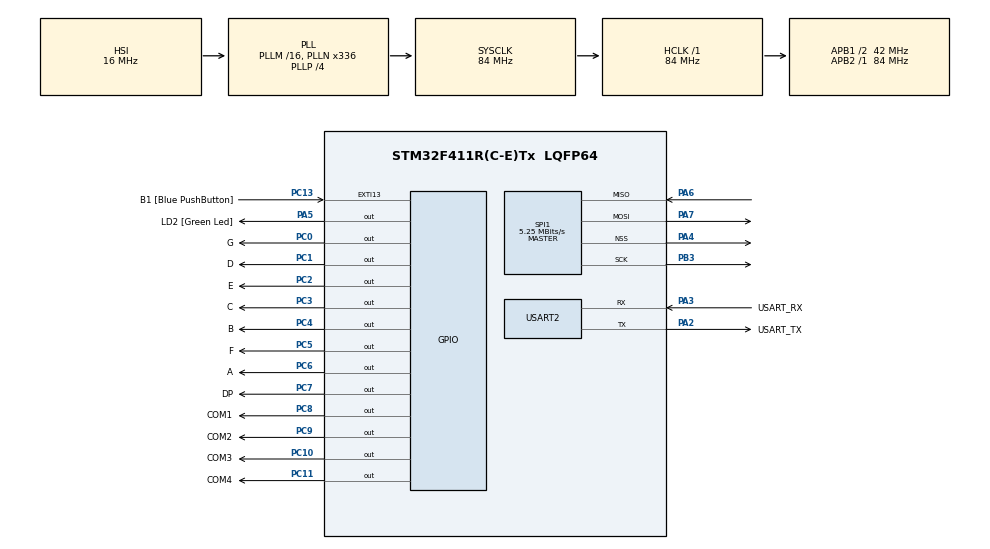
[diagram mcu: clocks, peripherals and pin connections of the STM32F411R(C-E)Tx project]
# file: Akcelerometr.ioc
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Mcu.Family=STM32F4
Mcu.Name=STM32F411R(C-E)Tx
Mcu.Package=LQFP64
NVIC.PriorityGroup=NVIC_PRIORITYGROUP_0
PA13.GPIO_Label=TMS
PA13.Mode=Serial_Wire
PA13.Signal=SYS_JTMS-SWDIO
PA14.GPIO_Label=TCK
PA14.Mode=Serial_Wire
PA14.Signal=SYS_JTCK-SWCLK
PA2.GPIO_Label=USART_TX
PA2.Mode=Asynchronous
PA2.Signal=USART2_TX
PA3.GPIO_Label=USART_RX
PA3.Mode=Asynchronous
PA3.Signal=USART2_RX
PA4.Mode=NSS_Signal_Hard_Output
PA4.Signal=SPI1_NSS
PA5.GPIO_Label=LD2 [Green Led]
PA5.Signal=GPIO_Output
PA6.Mode=Full_Duplex_Master
PA6.Signal=SPI1_MISO
PA7.Mode=Full_Duplex_Master
PA7.Signal=SPI1_MOSI
PB3.Mode=Full_Duplex_Master
PB3.Signal=SPI1_SCK
PC0.GPIO_Label=G
PC0.Signal=GPIO_Output
PC1.GPIO_Label=D
PC1.Signal=GPIO_Output
PC10.GPIO_Label=COM3
PC10.PinState=GPIO_PIN_SET
PC10.Signal=GPIO_Output
PC11.GPIO_Label=COM4
PC11.PinState=GPIO_PIN_SET
PC11.Signal=GPIO_Output
PC13-ANTI_TAMP.GPIO_Label=B1 [Blue PushButton]
PC13-ANTI_TAMP.GPIO_ModeDefaultEXTI=GPIO_MODE_IT_FALLING
PC13-ANTI_TAMP.Signal=GPXTI13
PC14-OSC32_IN.Mode=LSE-External-Oscillator
PC14-OSC32_IN.Signal=RCC_OSC32_IN
PC15-OSC32_OUT.Mode=LSE-External-Oscillator
PC15-OSC32_OUT.Signal=RCC_OSC32_OUT
PC2.GPIO_Label=E
PC2.Signal=GPIO_Output
PC3.GPIO_Label=C
PC3.Signal=GPIO_Output
PC4.GPIO_Label=B
PC4.Signal=GPIO_Output
PC5.GPIO_Label=F
PC5.Signal=GPIO_Output
PC6.GPIO_Label=A
PC6.Signal=GPIO_Output
PC7.GPIO_Label=DP
PC7.Signal=GPIO_Output
PC8.GPIO_Label=COM1
PC8.PinState=GPIO_PIN_SET
PC8.Signal=GPIO_Output
PC9.GPIO_Label=COM2
PC9.PinState=GPIO_PIN_SET
PC9.Signal=GPIO_Output
PH0\ -\ OSC_IN.Mode=HSE-External-Clock-Source
PH0\ -\ OSC_IN.Signal=RCC_OSC_IN
PH1\ -\ OSC_OUT.Mode=HSE-External-Clock-Source
PH1\ -\ OSC_OUT.Signal=RCC_OSC_OUT
ProjectManager.HeapSize=0x200
ProjectManager.StackSize=0x400
ProjectManager.TargetToolchain=STM32CubeIDE
RCC.48MHZClocksFreq_Value=84000000
RCC.AHBFreq_Value=84000000
RCC.APB1CLKDivider=RCC_HCLK_DIV2
RCC.APB1Freq_Value=42000000
RCC.APB1TimFreq_Value=84000000
RCC.APB2Freq_Value=84000000
RCC.APB2TimFreq_Value=84000000
RCC.CortexFreq_Value=84000000
RCC.FLatency-AdvancedSettings=FLASH_LATENCY_2
RCC.HCLKFreq_Value=84000000
RCC.HSE_VALUE=8000000
RCC.HSI_VALUE=16000000
RCC.PLLN=336
RCC.PLLP=RCC_PLLP_DIV4
RCC.SYSCLKFreq_VALUE=84000000
RCC.SYSCLKSource=RCC_SYSCLKSOURCE_PLLCLK
RCC.VCOOutputFreq_Value=336000000
SPI1.BaudRatePrescaler=SPI_BAUDRATEPRESCALER_16
SPI1.CLKPhase=SPI_PHASE_2EDGE
SPI1.CLKPolarity=SPI_POLARITY_HIGH
SPI1.CalculateBaudRate=5.25 MBits/s
SPI1.Direction=SPI_DIRECTION_2LINES
SPI1.Mode=SPI_MODE_MASTER
SPI1.VirtualNSS=VM_NSSHARD
SPI1.VirtualType=VM_MASTER
USART2.VirtualMode=VM_ASYNC
board=NUCLEO-F411RE

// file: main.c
/* USER CODE BEGIN Header */
/**
  ******************************************************************************
  * @file           : main.c
  * @brief          : Main program body
  ******************************************************************************
  * @attention
  *
  * <h2><center>&copy; Copyright (c) 2020 STMicroelectronics.
  * All rights reserved.</center></h2>
  *
  * This software component is licensed by ST under BSD 3-Clause license,
  * the "License"; You may not use this file except in compliance with the
  * License. You may obtain a copy of the License at:
  *                        opensource.org/licenses/BSD-3-Clause
  *
  ******************************************************************************
  */
/* USER CODE END Header */
#include "main.h"
#include "spi.h"
#include "usart.h"
#include "gpio.h"

/* USER CODE BEGIN Includes */
#include <math.h>
#include <stdio.h>
/* USER CODE END Includes */

/* USER CODE BEGIN PD */
#define CTR_REG1	0x20
#define OUT_X		0x29
#define OUT_Y		0x2B
#define OUT_Z		0x2D
#define GRAVITY		9.8 // [m/s**2]
#define DOT_POINT	0x0080
#define CLR_SCR		0xFFFF
/* USER CODE END PD */

/* USER CODE BEGIN PV */
SPI_HandleTypeDef hspi1;
const float coeff = 2*GRAVITY/255; // współczynnik kierunkowy prostej
const uint16_t Positions[4] = {0x0800,0x0400,0x0200,0x0100}; // [COM1,COM2,COM3,COM4]
const uint16_t Signs[13] = {0x0081,0x00E7,0x00A8,0x00A4,
				   0x00C6,0x0094,0x0090,
				   0x00A7,0x0080,0x0084,
				   0x00FE,0x00FF,0x0098}; // [0,…,9,minus,blankspace,Error]

float ax_val[3];
float disp_val;
//uint8_t buffer = 0;
uint8_t buffer = 12; // Error sign
uint8_t pos = 0 ;
uint8_t wybor_osi = 0;
uint8_t znak_uart, kom[50];
uint16_t dl_kom;
/* USER CODE END PV */

void SystemClock_Config(void);
/* USER CODE BEGIN PFP */
void transmit(uint8_t addr,uint8_t msg);
uint8_t receive(uint8_t addr);
void display(float val);
float read(uint8_t val){ return coeff*receive(val)-GRAVITY;}
/* USER CODE END PFP */

int main(void)
{

  /* MCU Configuration--------------------------------------------------------*/

  /* Reset of all peripherals, Initializes the Flash interface and the Systick. */
  HAL_Init();

  /* Configure the system clock */
  SystemClock_Config();

  /* Initialize all configured peripherals */
  MX_GPIO_Init();
  MX_USART2_UART_Init();
  MX_SPI1_Init();
  /* USER CODE BEGIN 2 */
  __HAL_SPI_ENABLE(&hspi1);
  HAL_TIM_Base_Start_IT(&htim1);
  HAL_TIM_Base_Start_IT(&htim3);
  HAL_TIM_Base_Start_IT(&htim10);
  HAL_UART_Receive_IT(&huart2, &znak_uart, 1);

  transmit(CTR_REG1,0b01000111);
  /* USER CODE END 2 */

  /* Infinite loop */
  while (1)
  {

  }
}

void SystemClock_Config(void)
{
  RCC_OscInitTypeDef RCC_OscInitStruct = {0};
  RCC_ClkInitTypeDef RCC_ClkInitStruct = {0};

  /** Configure the main internal regulator output voltage
  */
  __HAL_RCC_PWR_CLK_ENABLE();
  __HAL_PWR_VOLTAGESCALING_CONFIG(PWR_REGULATOR_VOLTAGE_SCALE1);
  /** Initializes the RCC Oscillators according to the specified parameters
  * in the RCC_OscInitTypeDef structure.
  */
  RCC_OscInitStruct.OscillatorType = RCC_OSCILLATORTYPE_HSI;
  RCC_OscInitStruct.HSIState = RCC_HSI_ON;
  RCC_OscInitStruct.HSICalibrationValue = RCC_HSICALIBRATION_DEFAULT;
  RCC_OscInitStruct.PLL.PLLState = RCC_PLL_ON;
  RCC_OscInitStruct.PLL.PLLSource = RCC_PLLSOURCE_HSI;
  RCC_OscInitStruct.PLL.PLLM = 16;
  RCC_OscInitStruct.PLL.PLLN = 336;
  RCC_OscInitStruct.PLL.PLLP = RCC_PLLP_DIV4;
  RCC_OscInitStruct.PLL.PLLQ = 4;
  if (HAL_RCC_OscConfig(&RCC_OscInitStruct) != HAL_OK)
  {
    Error_Handler();
  }
  /** Initializes the CPU, AHB and APB buses clocks
  */
  RCC_ClkInitStruct.ClockType = RCC_CLOCKTYPE_HCLK|RCC_CLOCKTYPE_SYSCLK
                              |RCC_CLOCKTYPE_PCLK1|RCC_CLOCKTYPE_PCLK2;
  RCC_ClkInitStruct.SYSCLKSource = RCC_SYSCLKSOURCE_PLLCLK;
  RCC_ClkInitStruct.AHBCLKDivider = RCC_SYSCLK_DIV1;
  RCC_ClkInitStruct.APB1CLKDivider = RCC_HCLK_DIV2;
  RCC_ClkInitStruct.APB2CLKDivider = RCC_HCLK_DIV1;

  if (HAL_RCC_ClockConfig(&RCC_ClkInitStruct, FLASH_LATENCY_2) != HAL_OK)
  {
    Error_Handler();
  }
}

/* USER CODE BEGIN 4 */
void transmit(uint8_t addr, uint8_t msg){
	uint8_t tx[] = {addr,msg};
	HAL_GPIO_WritePin(NSS_GPIO_Port,NSS_Pin,GPIO_PIN_RESET);
	HAL_SPI_Transmit(&hspi1,tx,2,HAL_MAX_DELAY);
	HAL_GPIO_WritePin(NSS_GPIO_Port,NSS_Pin,GPIO_PIN_SET);
}

uint8_t receive(uint8_t addr){
	uint8_t tx[] = {addr|=1<<7,0xFF};
	uint8_t rx[2];
	HAL_GPIO_WritePin(NSS_GPIO_Port,NSS_Pin,GPIO_PIN_RESET);
	HAL_SPI_TransmitReceive(&hspi1,tx,rx,2,HAL_MAX_DELAY); // bo sam nie wyśle
	HAL_GPIO_WritePin(NSS_GPIO_Port,NSS_Pin,GPIO_PIN_SET);
	return rx[1]; // bo wysyła tyle, ile dostał, a nie chcemy addr, lecz msg
}

void display(float val){
	val = round(10*val);
	float abs = fabsf(val);

        switch(pos){
	   case 0:
		buffer = 0;
	  	GPIOC->ODR = ~(Positions[pos] | Signs[val<0 ? 10:11]);
		break;
           case 1:
		buffer = floor(abs/100);
		GPIOC->ODR = ~(Positions[pos] | Signs[buffer]);
		break;
           case 2:
		buffer = floor((abs-100*buffer)/10);
		GPIOC->ODR = ~(Positions[pos] | Signs[buffer]) ^ DOT_POINT;
		break;
           case 3:
		buffer = abs-10*floor(abs/10);
		GPIOC->ODR = ~(Positions[pos] | Signs[buffer]);
		break;
           default:
		buffer = 12;
		//GPIOC->ODR = CLR_SCR;
        }

        pos = pos<3 ? pos+1:0;
}

void HAL_TIM_PeriodElapsedCallback(TIM_HandleTypeDef *htim){
	if(htim->Instance==TIM1){
		ax_val[0] = read(OUT_X);
		ax_val[1] = read(OUT_Y);
		ax_val[2] = read(OUT_Z);
		disp_val = ax_val[wybor_osi];
	}
	else if(htim->Instance==TIM3){ display(disp_val);}
	else if(htim->Instance==TIM10){
		dl_kom = sprintf(kom,"Dane:\r\nx: %.1f\r\ny: %.1f\r\nz: %.1f\r\n\r\n",
						ax_val[0],ax_val[1],ax_val[2]);
		HAL_UART_Transmit_IT(&huart2,kom,dl_kom);
		HAL_GPIO_TogglePin(LD2_GPIO_Port,LD2_Pin);
	}
}

void HAL_GPIO_EXTI_Callback(uint16_t GPIO_Pin){
	if(GPIO_Pin==BLUE_BUTTON_Pin){ wybor_osi = wybor_osi<2 ? wybor_osi+1:0;}
}
/* USER CODE END 4 */

void Error_Handler(void)
{
}

/************************ (C) COPYRIGHT STMicroelectronics *****END OF FILE****/
